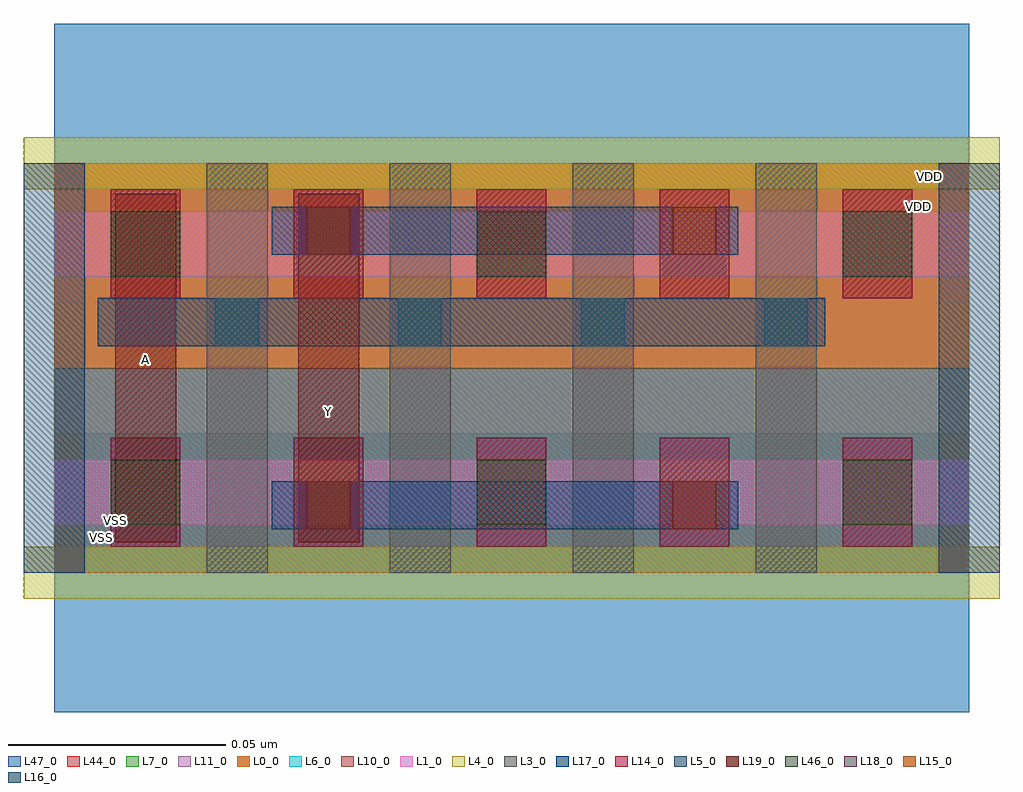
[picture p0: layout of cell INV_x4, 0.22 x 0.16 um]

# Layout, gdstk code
import gdstk
lib = gdstk.Library(unit=1e-6, precision=5e-10)
def R(c, l, rs):  # rectangles x0, y0, x1, y1
    for r in rs: c.add(gdstk.rectangle(r[:2], r[2:], *l))
def A(c, l, x, y, w, h, nx, ny, dx, dy):  # array of equal rectangles
    R(c, l, [(x+i*dx, y+j*dy, x+i*dx+w, y+j*dy+h) for i in range(nx) for j in range(ny)])
L0_0 = (0, 0)
L1_0 = (1, 0)
L3_0 = (3, 0)
L4_0 = (4, 0)
L5_0 = (5, 0)
L6_0 = (6, 0)
L7_0 = (7, 0)
L10_0 = (10, 0)
L11_0 = (11, 0)
L14_0 = (14, 0)
L15_0 = (15, 0)
L16_0 = (16, 0)
L17_0 = (17, 0)
L18_0 = (18, 0)
L19_0 = (19, 0)
L44_0 = (44, 0)
L46_0 = (46, 0)
L47_0 = (47, 0)

inv_x4 = lib.new_cell('INV_x4')
R(inv_x4, L0_0, [(0,0.047,0.21,0.094)])
R(inv_x4, L1_0, [(0,0.011,0.21,0.026), (0,0.068,0.21,0.083)])
A(inv_x4, L3_0, 0.035, 0, 0.014, 0.094, 4, 1, 0.042, 0)
R(inv_x4, L4_0, [(-0.007,-0.006,0.217,0.006), (-0.007,0.088,0.217,0.1)])
R(inv_x4, L5_0, [(-0.007,0,0.007,0.094), (0.203,0,0.217,0.094)])
R(inv_x4, L6_0, [(0,0,0.21,0.047)])
R(inv_x4, L7_0, [(0,0.047,0.21,0.094)])
R(inv_x4, L10_0, [(0,0,0.21,0.047)])
R(inv_x4, L11_0, [(0,0.047,0.21,0.094)])
A(inv_x4, L14_0, 0.013, 0.006, 0.016, 0.025, 5, 2, 0.042, 0.057)
R(inv_x4, L15_0, [(0.058,0.01,0.068,0.021), (0.142,0.01,0.152,0.021), (0.058,0.073,0.068,0.084), (0.142,0.073,0.152,0.084)])
A(inv_x4, L16_0, 0.037, 0.052, 0.01, 0.011, 4, 1, 0.042, 0)
R(inv_x4, L17_0, [(0.05,0.01,0.157,0.021), (0.01,0.052,0.177,0.063), (0.05,0.073,0.157,0.084)])
R(inv_x4, L18_0, [(0.056,0.01,0.07,0.021), (0.014,0.052,0.028,0.063), (0.056,0.073,0.07,0.084)])
R(inv_x4, L19_0, [(0.014,0.007,0.028,0.087), (0.056,0.007,0.07,0.087)])
R(inv_x4, L44_0, [(0,0,0.21,0.094)])
A(inv_x4, L46_0, 0.013, 0.011, 0.016, 0.015, 3, 2, 0.084, 0.057)
R(inv_x4, L47_0, [(0,-0.032,0.21,0.032), (0,0.062,0.21,0.126)])
inv_x4.add(gdstk.Label('VSS', (0.014,0.012), layer=47, texttype=2))
inv_x4.add(gdstk.Label('VDD', (0.1985,0.084), layer=47, texttype=2))
inv_x4.add(gdstk.Label('VDD', (0.201,0.091), layer=0, texttype=2))
inv_x4.add(gdstk.Label('Y', (0.063,0.037), layer=19, texttype=2))
inv_x4.add(gdstk.Label('A', (0.021,0.049), layer=19, texttype=2))
inv_x4.add(gdstk.Label('VSS', (0.011,0.008), layer=54, texttype=2))

lib.write_gds('INV_x4.gds')
